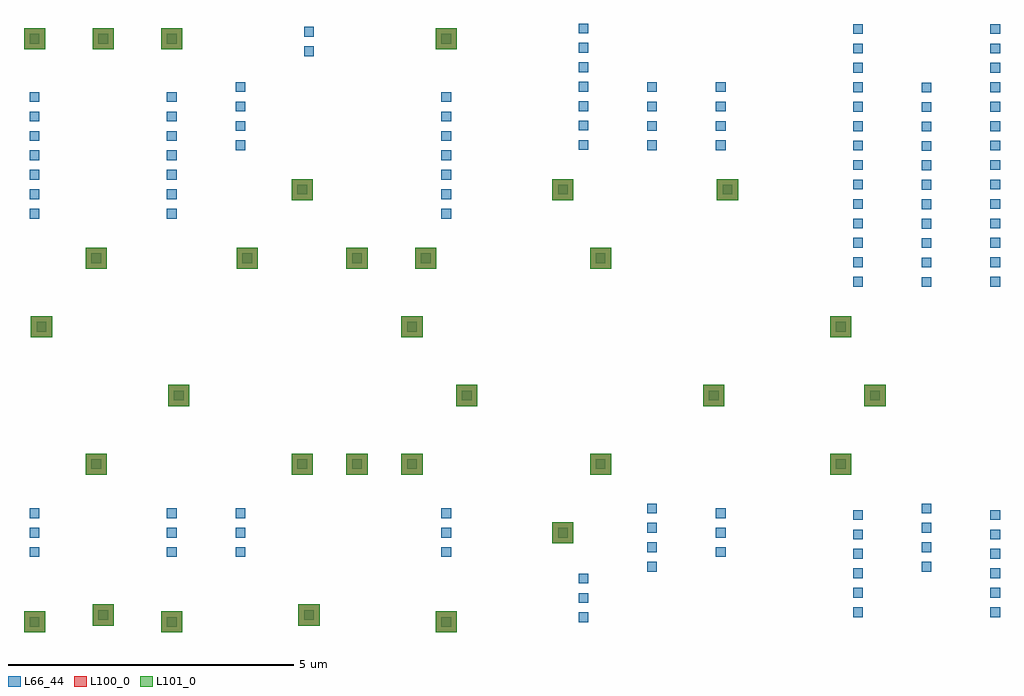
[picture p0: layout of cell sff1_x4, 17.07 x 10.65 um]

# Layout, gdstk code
import gdstk
lib = gdstk.Library(unit=1e-6, precision=1e-09)
def R(c, l, rs):  # rectangles x0, y0, x1, y1
    for r in rs: c.add(gdstk.rectangle(r[:2], r[2:], *l))
def A(c, l, x, y, w, h, nx, ny, dx, dy):  # array of equal rectangles
    R(c, l, [(x+i*dx, y+j*dy, x+i*dx+w, y+j*dy+h) for i in range(nx) for j in range(ny)])
def P(c, l, *ps):  # polygons
    for p in ps: c.add(gdstk.Polygon(p, *l))
L66_44 = (66, 44)
L100_0 = (100, 0)
L101_0 = (101, 0)

sff1_x4 = lib.new_cell('sff1_x4')
P(sff1_x4, L66_44, [(0.635,5.915),(0.635,6.085),(0.805,6.085),(0.805,5.915),(0.635,5.915)],
  [(7.115,5.915),(7.115,6.085),(7.285,6.085),(7.285,5.915),(7.115,5.915)],
  [(14.615,5.915),(14.615,6.085),(14.785,6.085),(14.785,5.915),(14.615,5.915)],
  [(17.315,7.045),(17.315,7.215),(17.485,7.215),(17.485,7.045),(17.315,7.045)],
  [(14.915,7.385),(14.915,7.555),(15.085,7.555),(15.085,7.385),(14.915,7.385)],
  [(17.315,7.385),(17.315,7.555),(17.485,7.555),(17.485,7.385),(17.315,7.385)],
  [(14.915,7.725),(14.915,7.895),(15.085,7.895),(15.085,7.725),(14.915,7.725)],
  [(17.315,7.725),(17.315,7.895),(17.485,7.895),(17.485,7.725),(17.315,7.725)],
  [(14.915,8.065),(14.915,8.235),(15.085,8.235),(15.085,8.065),(14.915,8.065)],
  [(17.315,8.065),(17.315,8.235),(17.485,8.235),(17.485,8.065),(17.315,8.065)],
  [(14.915,8.405),(14.915,8.575),(15.085,8.575),(15.085,8.405),(14.915,8.405)],
  [(17.315,8.405),(17.315,8.575),(17.485,8.575),(17.485,8.405),(17.315,8.405)],
  [(14.915,8.745),(14.915,8.915),(15.085,8.915),(15.085,8.745),(14.915,8.745)],
  [(17.315,8.745),(17.315,8.915),(17.485,8.915),(17.485,8.745),(17.315,8.745)],
  [(14.915,9.085),(14.915,9.255),(15.085,9.255),(15.085,9.085),(14.915,9.085)],
  [(17.315,9.085),(17.315,9.255),(17.485,9.255),(17.485,9.085),(17.315,9.085)],
  [(14.915,9.425),(14.915,9.595),(15.085,9.595),(15.085,9.425),(14.915,9.425)],
  [(17.315,9.425),(17.315,9.595),(17.485,9.595),(17.485,9.425),(17.315,9.425)],
  [(14.915,9.765),(14.915,9.935),(15.085,9.935),(15.085,9.765),(14.915,9.765)],
  [(17.315,9.765),(17.315,9.935),(17.485,9.935),(17.485,9.765),(17.315,9.765)],
  [(14.915,10.105),(14.915,10.275),(15.085,10.275),(15.085,10.105),(14.915,10.105)],
  [(17.315,10.105),(17.315,10.275),(17.485,10.275),(17.485,10.105),(17.315,10.105)],
  [(14.915,10.445),(14.915,10.615),(15.085,10.615),(15.085,10.445),(14.915,10.445)],
  [(17.315,10.445),(17.315,10.615),(17.485,10.615),(17.485,10.445),(17.315,10.445)],
  [(14.915,10.785),(14.915,10.955),(15.085,10.955),(15.085,10.785),(14.915,10.785)],
  [(17.315,10.785),(17.315,10.955),(17.485,10.955),(17.485,10.785),(17.315,10.785)],
  [(14.915,11.125),(14.915,11.295),(15.085,11.295),(15.085,11.125),(14.915,11.125)],
  [(17.315,11.125),(17.315,11.295),(17.485,11.295),(17.485,11.125),(17.315,11.125)],
  [(11.315,9.09),(11.315,9.26),(11.485,9.26),(11.485,9.09),(11.315,9.09)],
  [(11.315,9.43),(11.315,9.6),(11.485,9.6),(11.485,9.43),(11.315,9.43)],
  [(11.315,9.77),(11.315,9.94),(11.485,9.94),(11.485,9.77),(11.315,9.77)],
  [(11.315,10.11),(11.315,10.28),(11.485,10.28),(11.485,10.11),(11.315,10.11)],
  [(9.755,8.315),(9.755,8.485),(9.925,8.485),(9.925,8.315),(9.755,8.315)],
  [(14.915,6.705),(14.915,6.875),(15.085,6.875),(15.085,6.705),(14.915,6.705)],
  [(17.315,6.705),(17.315,6.875),(17.485,6.875),(17.485,6.705),(17.315,6.705)],
  [(12.515,9.43),(12.515,9.6),(12.685,9.6),(12.685,9.43),(12.515,9.43)],
  [(12.515,9.77),(12.515,9.94),(12.685,9.94),(12.685,9.77),(12.515,9.77)],
  [(12.515,10.11),(12.515,10.28),(12.685,10.28),(12.685,10.11),(12.515,10.11)],
  [(10.115,9.095),(10.115,9.265),(10.285,9.265),(10.285,9.095),(10.115,9.095)],
  [(10.115,9.435),(10.115,9.605),(10.285,9.605),(10.285,9.435),(10.115,9.435)],
  [(10.115,9.775),(10.115,9.945),(10.285,9.945),(10.285,9.775),(10.115,9.775)],
  [(10.115,10.115),(10.115,10.285),(10.285,10.285),(10.285,10.115),(10.115,10.115)],
  [(10.115,10.455),(10.115,10.625),(10.285,10.625),(10.285,10.455),(10.115,10.455)],
  [(10.115,10.795),(10.115,10.965),(10.285,10.965),(10.285,10.795),(10.115,10.795)],
  [(10.115,11.135),(10.115,11.305),(10.285,11.305),(10.285,11.135),(10.115,11.135)],
  [(16.115,6.7),(16.115,6.87),(16.285,6.87),(16.285,6.7),(16.115,6.7)],
  [(16.115,7.04),(16.115,7.21),(16.285,7.21),(16.285,7.04),(16.115,7.04)],
  [(16.115,7.38),(16.115,7.55),(16.285,7.55),(16.285,7.38),(16.115,7.38)],
  [(16.115,7.72),(16.115,7.89),(16.285,7.89),(16.285,7.72),(16.115,7.72)],
  [(16.115,8.06),(16.115,8.23),(16.285,8.23),(16.285,8.06),(16.115,8.06)],
  [(16.115,8.4),(16.115,8.57),(16.285,8.57),(16.285,8.4),(16.115,8.4)],
  [(16.115,8.74),(16.115,8.91),(16.285,8.91),(16.285,8.74),(16.115,8.74)],
  [(16.115,9.08),(16.115,9.25),(16.285,9.25),(16.285,9.08),(16.115,9.08)],
  [(16.115,9.42),(16.115,9.59),(16.285,9.59),(16.285,9.42),(16.115,9.42)],
  [(16.115,9.76),(16.115,9.93),(16.285,9.93),(16.285,9.76),(16.115,9.76)],
  [(16.115,10.1),(16.115,10.27),(16.285,10.27),(16.285,10.1),(16.115,10.1)],
  [(12.515,9.09),(12.515,9.26),(12.685,9.26),(12.685,9.09),(12.515,9.09)],
  [(10.415,7.115),(10.415,7.285),(10.585,7.285),(10.585,7.115),(10.415,7.115)],
  [(12.635,8.315),(12.635,8.485),(12.805,8.485),(12.805,8.315),(12.635,8.315)],
  [(14.915,7.045),(14.915,7.215),(15.085,7.215),(15.085,7.045),(14.915,7.045)],
  [(0.515,8.915),(0.515,9.085),(0.685,9.085),(0.685,8.915),(0.515,8.915)],
  [(5.315,10.735),(5.315,10.905),(5.485,10.905),(5.485,10.735),(5.315,10.735)],
  [(5.315,11.075),(5.315,11.245),(5.485,11.245),(5.485,11.075),(5.315,11.075)],
  [(2.915,8.915),(2.915,9.085),(3.085,9.085),(3.085,8.915),(2.915,8.915)],
  [(0.515,9.255),(0.515,9.425),(0.685,9.425),(0.685,9.255),(0.515,9.255)],
  [(2.915,9.255),(2.915,9.425),(3.085,9.425),(3.085,9.255),(2.915,9.255)],
  [(7.715,8.235),(7.715,8.405),(7.885,8.405),(7.885,8.235),(7.715,8.235)],
  [(7.715,8.575),(7.715,8.745),(7.885,8.745),(7.885,8.575),(7.715,8.575)],
  [(7.715,8.915),(7.715,9.085),(7.885,9.085),(7.885,8.915),(7.715,8.915)],
  [(7.715,9.255),(7.715,9.425),(7.885,9.425),(7.885,9.255),(7.715,9.255)],
  [(7.715,9.595),(7.715,9.765),(7.885,9.765),(7.885,9.595),(7.715,9.595)],
  [(7.715,9.935),(7.715,10.105),(7.885,10.105),(7.885,9.935),(7.715,9.935)],
  [(0.515,9.595),(0.515,9.765),(0.685,9.765),(0.685,9.595),(0.515,9.595)],
  [(2.915,9.595),(2.915,9.765),(3.085,9.765),(3.085,9.595),(2.915,9.595)],
  [(0.515,9.935),(0.515,10.105),(0.685,10.105),(0.685,9.935),(0.515,9.935)],
  [(2.915,9.935),(2.915,10.105),(3.085,10.105),(3.085,9.935),(2.915,9.935)],
  [(4.115,9.09),(4.115,9.26),(4.285,9.26),(4.285,9.09),(4.115,9.09)],
  [(0.515,7.895),(0.515,8.065),(0.685,8.065),(0.685,7.895),(0.515,7.895)],
  [(4.115,9.43),(4.115,9.6),(4.285,9.6),(4.285,9.43),(4.115,9.43)],
  [(2.915,7.895),(2.915,8.065),(3.085,8.065),(3.085,7.895),(2.915,7.895)],
  [(4.115,9.77),(4.115,9.94),(4.285,9.94),(4.285,9.77),(4.115,9.77)],
  [(0.515,8.235),(0.515,8.405),(0.685,8.405),(0.685,8.235),(0.515,8.235)],
  [(4.115,10.11),(4.115,10.28),(4.285,10.28),(4.285,10.11),(4.115,10.11)],
  [(2.915,8.235),(2.915,8.405),(3.085,8.405),(3.085,8.235),(2.915,8.235)],
  [(6.155,7.115),(6.155,7.285),(6.325,7.285),(6.325,7.115),(6.155,7.115)],
  [(7.355,7.115),(7.355,7.285),(7.525,7.285),(7.525,7.115),(7.355,7.115)],
  [(0.515,10.955),(0.515,11.125),(0.685,11.125),(0.685,10.955),(0.515,10.955)],
  [(1.715,10.955),(1.715,11.125),(1.885,11.125),(1.885,10.955),(1.715,10.955)],
  [(2.915,10.955),(2.915,11.125),(3.085,11.125),(3.085,10.955),(2.915,10.955)],
  [(1.595,7.115),(1.595,7.285),(1.765,7.285),(1.765,7.115),(1.595,7.115)],
  [(4.235,7.115),(4.235,7.285),(4.405,7.285),(4.405,7.115),(4.235,7.115)],
  [(7.715,7.895),(7.715,8.065),(7.885,8.065),(7.885,7.895),(7.715,7.895)],
  [(7.715,10.955),(7.715,11.125),(7.885,11.125),(7.885,10.955),(7.715,10.955)],
  [(5.195,8.315),(5.195,8.485),(5.365,8.485),(5.365,8.315),(5.195,8.315)],
  [(0.515,8.575),(0.515,8.745),(0.685,8.745),(0.685,8.575),(0.515,8.575)],
  [(2.915,8.575),(2.915,8.745),(3.085,8.745),(3.085,8.575),(2.915,8.575)],
  [(1.595,3.515),(1.595,3.685),(1.765,3.685),(1.765,3.515),(1.595,3.515)],
  [(5.195,3.515),(5.195,3.685),(5.365,3.685),(5.365,3.515),(5.195,3.515)],
  [(7.715,1.975),(7.715,2.145),(7.885,2.145),(7.885,1.975),(7.715,1.975)],
  [(0.515,2.315),(0.515,2.485),(0.685,2.485),(0.685,2.315),(0.515,2.315)],
  [(3.035,4.715),(3.035,4.885),(3.205,4.885),(3.205,4.715),(3.035,4.715)],
  [(8.075,4.715),(8.075,4.885),(8.245,4.885),(8.245,4.715),(8.075,4.715)],
  [(4.115,2.315),(4.115,2.485),(4.285,2.485),(4.285,2.315),(4.115,2.315)],
  [(7.715,2.315),(7.715,2.485),(7.885,2.485),(7.885,2.315),(7.715,2.315)],
  [(2.915,2.315),(2.915,2.485),(3.085,2.485),(3.085,2.315),(2.915,2.315)],
  [(2.915,1.975),(2.915,2.145),(3.085,2.145),(3.085,1.975),(2.915,1.975)],
  [(2.915,2.655),(2.915,2.825),(3.085,2.825),(3.085,2.655),(2.915,2.655)],
  [(6.155,3.515),(6.155,3.685),(6.325,3.685),(6.325,3.515),(6.155,3.515)],
  [(7.115,3.515),(7.115,3.685),(7.285,3.685),(7.285,3.515),(7.115,3.515)],
  [(0.515,2.655),(0.515,2.825),(0.685,2.825),(0.685,2.655),(0.515,2.655)],
  [(4.115,2.655),(4.115,2.825),(4.285,2.825),(4.285,2.655),(4.115,2.655)],
  [(7.715,2.655),(7.715,2.825),(7.885,2.825),(7.885,2.655),(7.715,2.655)],
  [(0.515,0.755),(0.515,0.925),(0.685,0.925),(0.685,0.755),(0.515,0.755)],
  [(7.715,0.755),(7.715,0.925),(7.885,0.925),(7.885,0.755),(7.715,0.755)],
  [(2.915,0.755),(2.915,0.925),(3.085,0.925),(3.085,0.755),(2.915,0.755)],
  [(0.515,1.975),(0.515,2.145),(0.685,2.145),(0.685,1.975),(0.515,1.975)],
  [(4.115,1.975),(4.115,2.145),(4.285,2.145),(4.285,1.975),(4.115,1.975)],
  [(1.715,0.875),(1.715,1.045),(1.885,1.045),(1.885,0.875),(1.715,0.875)],
  [(5.315,0.875),(5.315,1.045),(5.485,1.045),(5.485,0.875),(5.315,0.875)],
  [(11.315,2.06),(11.315,2.23),(11.485,2.23),(11.485,2.06),(11.315,2.06)],
  [(16.115,2.06),(16.115,2.23),(16.285,2.23),(16.285,2.06),(16.115,2.06)],
  [(11.315,2.4),(11.315,2.57),(11.485,2.57),(11.485,2.4),(11.315,2.4)],
  [(16.115,2.4),(16.115,2.57),(16.285,2.57),(16.285,2.4),(16.115,2.4)],
  [(11.315,2.74),(11.315,2.91),(11.485,2.91),(11.485,2.74),(11.315,2.74)],
  [(12.395,4.715),(12.395,4.885),(12.565,4.885),(12.565,4.715),(12.395,4.715)],
  [(15.215,4.715),(15.215,4.885),(15.385,4.885),(15.385,4.715),(15.215,4.715)],
  [(16.115,2.74),(16.115,2.91),(16.285,2.91),(16.285,2.74),(16.115,2.74)],
  [(17.315,0.925),(17.315,1.095),(17.485,1.095),(17.485,0.925),(17.315,0.925)],
  [(14.915,1.265),(14.915,1.435),(15.085,1.435),(15.085,1.265),(14.915,1.265)],
  [(17.315,1.265),(17.315,1.435),(17.485,1.435),(17.485,1.265),(17.315,1.265)],
  [(10.415,3.515),(10.415,3.685),(10.585,3.685),(10.585,3.515),(10.415,3.515)],
  [(14.615,3.515),(14.615,3.685),(14.785,3.685),(14.785,3.515),(14.615,3.515)],
  [(14.915,1.605),(14.915,1.775),(15.085,1.775),(15.085,1.605),(14.915,1.605)],
  [(17.315,1.605),(17.315,1.775),(17.485,1.775),(17.485,1.605),(17.315,1.605)],
  [(14.915,1.945),(14.915,2.115),(15.085,2.115),(15.085,1.945),(14.915,1.945)],
  [(17.315,1.945),(17.315,2.115),(17.485,2.115),(17.485,1.945),(17.315,1.945)],
  [(14.915,2.285),(14.915,2.455),(15.085,2.455),(15.085,2.285),(14.915,2.285)],
  [(17.315,2.285),(17.315,2.455),(17.485,2.455),(17.485,2.285),(17.315,2.285)],
  [(12.515,1.975),(12.515,2.145),(12.685,2.145),(12.685,1.975),(12.515,1.975)],
  [(9.755,2.315),(9.755,2.485),(9.925,2.485),(9.925,2.315),(9.755,2.315)],
  [(14.915,2.625),(14.915,2.795),(15.085,2.795),(15.085,2.625),(14.915,2.625)],
  [(12.515,2.655),(12.515,2.825),(12.685,2.825),(12.685,2.655),(12.515,2.655)],
  [(12.515,2.315),(12.515,2.485),(12.685,2.485),(12.685,2.315),(12.515,2.315)],
  [(10.115,0.835),(10.115,1.005),(10.285,1.005),(10.285,0.835),(10.115,0.835)],
  [(10.115,1.175),(10.115,1.345),(10.285,1.345),(10.285,1.175),(10.115,1.175)],
  [(10.115,1.515),(10.115,1.685),(10.285,1.685),(10.285,1.515),(10.115,1.515)],
  [(17.315,2.625),(17.315,2.795),(17.485,2.795),(17.485,2.625),(17.315,2.625)],
  [(14.915,0.925),(14.915,1.095),(15.085,1.095),(15.085,0.925),(14.915,0.925)],
  [(11.315,1.72),(11.315,1.89),(11.485,1.89),(11.485,1.72),(11.315,1.72)],
  [(16.115,1.72),(16.115,1.89),(16.285,1.89),(16.285,1.72),(16.115,1.72)])
A(sff1_x4, L100_0, 5.095, 3.415, 0.37, 0.37, 3, 1, 0.96, 0)
A(sff1_x4, L100_0, 0.415, 10.855, 0.37, 0.37, 3, 1, 1.2, 0)
R(sff1_x4, L100_0, [(0.415,0.655,0.785,1.025), (2.815,0.655,3.185,1.025), (7.615,0.655,7.985,1.025), (1.615,0.775,1.985,1.145), (5.215,0.775,5.585,1.145), (9.655,2.215,10.025,2.585), (1.495,3.415,1.865,3.785), (10.315,3.415,10.685,3.785), (14.515,3.415,14.885,3.785), (2.935,4.615,3.305,4.985), (7.975,4.615,8.345,4.985), (12.295,4.615,12.665,4.985), (15.115,4.615,15.485,4.985), (0.535,5.815,0.905,6.185), (7.015,5.815,7.385,6.185), (14.515,5.815,14.885,6.185), (1.495,7.015,1.865,7.385), (4.135,7.015,4.505,7.385), (6.055,7.015,6.425,7.385), (7.255,7.015,7.625,7.385), (10.315,7.015,10.685,7.385), (5.095,8.215,5.465,8.585), (9.655,8.215,10.025,8.585), (12.535,8.215,12.905,8.585), (7.615,10.855,7.985,11.225)])
A(sff1_x4, L101_0, 5.095, 3.415, 0.37, 0.37, 3, 1, 0.96, 0)
A(sff1_x4, L101_0, 0.415, 10.855, 0.37, 0.37, 3, 1, 1.2, 0)
R(sff1_x4, L101_0, [(0.415,0.655,0.785,1.025), (2.815,0.655,3.185,1.025), (7.615,0.655,7.985,1.025), (1.615,0.775,1.985,1.145), (5.215,0.775,5.585,1.145), (9.655,2.215,10.025,2.585), (1.495,3.415,1.865,3.785), (10.315,3.415,10.685,3.785), (14.515,3.415,14.885,3.785), (2.935,4.615,3.305,4.985), (7.975,4.615,8.345,4.985), (12.295,4.615,12.665,4.985), (15.115,4.615,15.485,4.985), (0.535,5.815,0.905,6.185), (7.015,5.815,7.385,6.185), (14.515,5.815,14.885,6.185), (1.495,7.015,1.865,7.385), (4.135,7.015,4.505,7.385), (6.055,7.015,6.425,7.385), (7.255,7.015,7.625,7.385), (10.315,7.015,10.685,7.385), (5.095,8.215,5.465,8.585), (9.655,8.215,10.025,8.585), (12.535,8.215,12.905,8.585), (7.615,10.855,7.985,11.225)])

lib.write_gds('sff1_x4.gds')
